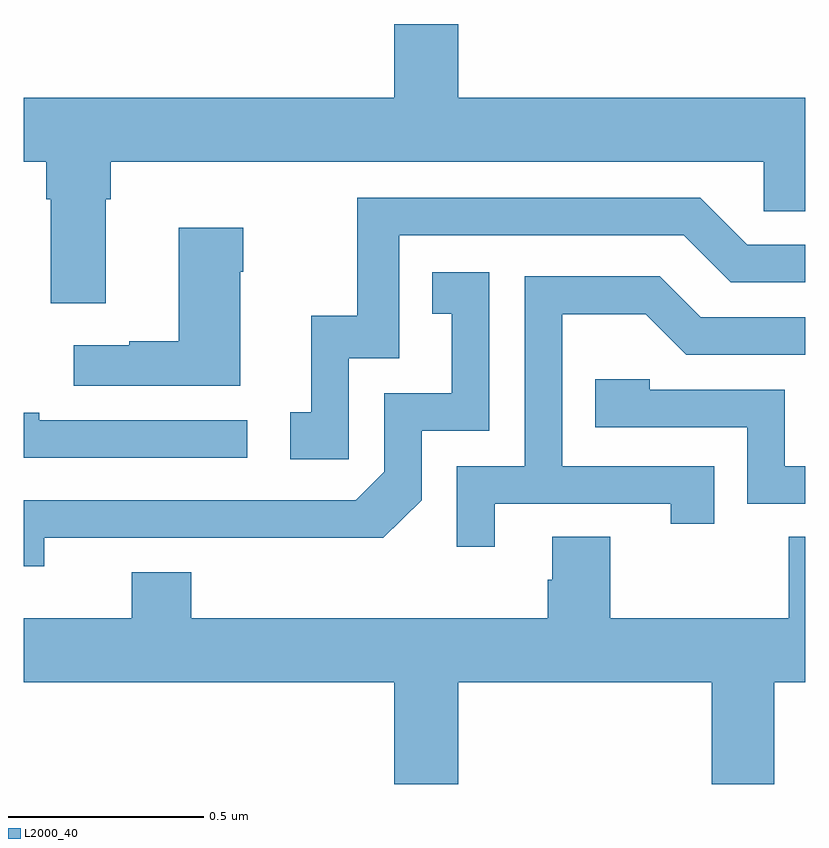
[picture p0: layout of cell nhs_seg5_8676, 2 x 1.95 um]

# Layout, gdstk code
import gdstk
lib = gdstk.Library(unit=1e-6, precision=1e-09)
def P(c, l, *ps):  # polygons
    for p in ps: c.add(gdstk.Polygon(p, *l))
L2000_40 = (2000, 40)

nhs_seg5_8676 = lib.new_cell('nhs_seg5_8676')
P(nhs_seg5_8676, L2000_40, [(224.209,891.296),(224.222,891.296),(224.222,891.392),(225.894,891.392),(225.894,891.265),(226,891.265),(226,891.556),(225.112,891.556),(225.112,891.745),(224.948,891.745),(224.948,891.556),(224,891.556),(224,891.392),(224.057,891.392),(224.057,891.296),(224.069,891.296),(224.069,891.03),(224.209,891.03)],
  [(224.832,890.889),(224.961,890.889),(224.961,891.204),(225.69,891.204),(225.81,891.084),(226,891.084),(226,891.18),(225.852,891.18),(225.732,891.3),(224.853,891.3),(224.853,890.998),(224.735,890.998),(224.735,890.751),(224.682,890.751),(224.682,890.631),(224.832,890.631)],
  [(224.554,891.11),(224.562,891.11),(224.562,891.223),(224.396,891.223),(224.396,890.933),(224.27,890.933),(224.27,890.923),(224.127,890.923),(224.127,890.819),(224.554,890.819)],
  [(224.052,890.43),(224.512,890.43),(224.512,890.429),(224.92,890.429),(225.018,890.526),(225.018,890.703),(225.192,890.703),(225.192,891.109),(225.046,891.109),(225.046,891.003),(225.095,891.003),(225.095,890.799),(224.922,890.799),(224.922,890.598),(224.85,890.526),(224,890.526),(224,890.357),(224.052,890.357)],
  [(225.205,890.517),(225.656,890.517),(225.656,890.466),(225.767,890.466),(225.767,890.613),(225.378,890.613),(225.378,891.002),(225.592,891.002),(225.696,890.898),(226,890.898),(226,890.994),(225.733,890.994),(225.628,891.099),(225.282,891.099),(225.282,890.613),(225.108,890.613),(225.108,890.406),(225.205,890.406)],
  [(226,890.613),(225.948,890.613),(225.948,890.808),(225.603,890.808),(225.603,890.835),(225.463,890.835),(225.463,890.712),(225.852,890.712),(225.852,890.517),(226,890.517)],
  [(224.572,890.73),(224.039,890.73),(224.039,890.75),(224,890.75),(224,890.634),(224.572,890.634)],
  [(225.112,890.06),(225.761,890.06),(225.761,889.799),(225.921,889.799),(225.921,890.06),(226,890.06),(226,890.432),(225.958,890.432),(225.958,890.224),(225.501,890.224),(225.501,890.432),(225.353,890.432),(225.353,890.322),(225.341,890.322),(225.341,890.224),(224.429,890.224),(224.429,890.341),(224.276,890.341),(224.276,890.224),(224,890.224),(224,890.06),(224.948,890.06),(224.948,889.799),(225.112,889.799)])

lib.write_gds('nhs_seg5_8676.gds')
